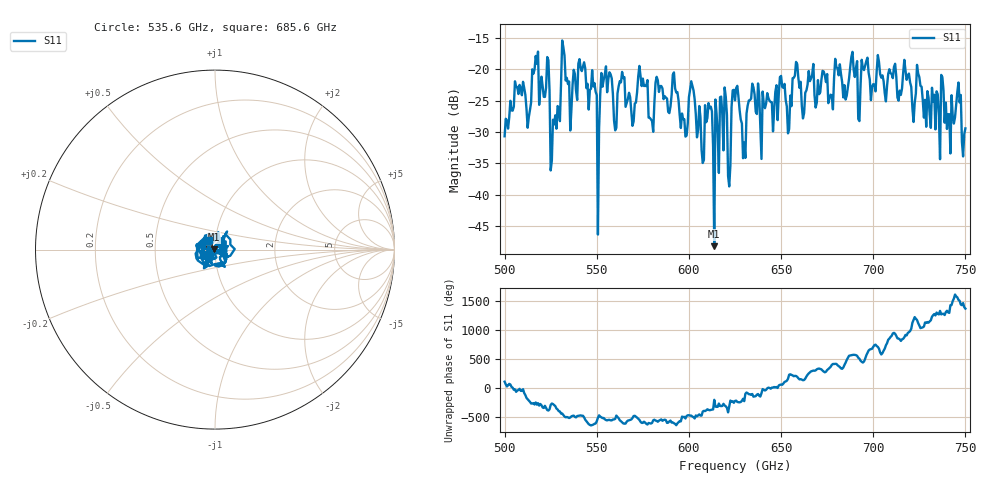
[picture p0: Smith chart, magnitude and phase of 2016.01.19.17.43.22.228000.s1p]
!Created with skrf (http://scikit-rf.org).
# GHz S RI R 50.0
!freq ReS11 ImS11
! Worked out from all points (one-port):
!   401 points, 500 GHz to 750 GHz, reference 50 ohm
!   lowest |S11| = -48.2 dB at 613.8 GHz (marker M1), VSWR 1.01, Z = 49.7 + j0.169 ohm
!   |S11| at or under -10 dB: start of sweep to end of sweep
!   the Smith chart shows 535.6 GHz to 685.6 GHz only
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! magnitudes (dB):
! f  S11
! 500 GHz  -30.7
! 506.9 GHz  -22.8
! 513.1 GHz  -27.6
! 516.9 GHz  -17.9
! 523.1 GHz  -18.0
! 526.2 GHz  -28.0
! 531.2 GHz  -15.4
! 548.8 GHz  -22.2
! 550.6 GHz  -46.3
! 553.8 GHz  -21.7
! 560 GHz  -29.7
! 562.5 GHz  -21.9
! 570 GHz  -28.3
! 573.8 GHz  -21.1
! 579.4 GHz  -28.0
! 593.8 GHz  -23.6
! 613.8 GHz  -48.2
! 618.8 GHz  -32.9
! 621.9 GHz  -38.7
! 625 GHz  -24.9
! 629.4 GHz  -34.2
! 633.8 GHz  -24.7
! 656.2 GHz  -21.4
! 687.5 GHz  -19.7
! 718.8 GHz  -21.0
! 740.6 GHz  -27.2
! 746.2 GHz  -22.1
! 750 GHz  -29.4
